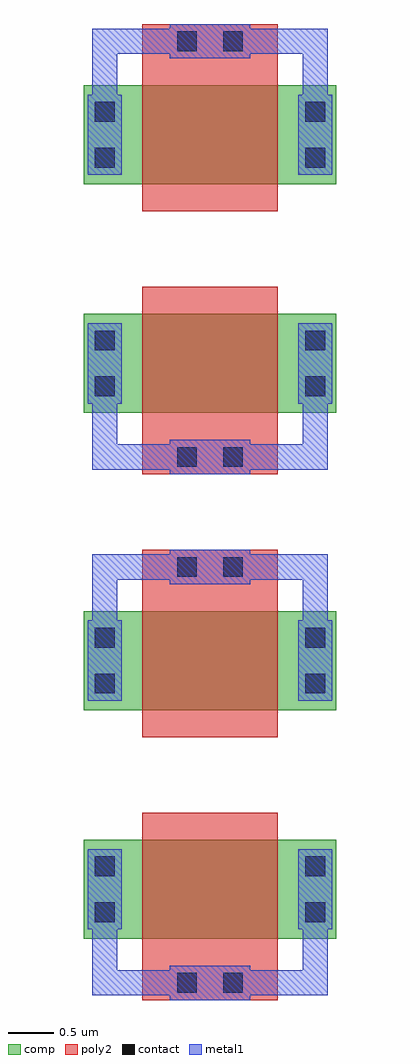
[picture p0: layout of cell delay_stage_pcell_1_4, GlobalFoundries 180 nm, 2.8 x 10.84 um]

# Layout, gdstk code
import gdstk
lib = gdstk.Library(unit=1e-6, precision=5e-09)
def R(c, l, rs):  # rectangles x0, y0, x1, y1
    for r in rs: c.add(gdstk.rectangle(r[:2], r[2:], *l))
comp = (22, 0)
poly2 = (30, 0)
contact = (33, 0)
metal1 = (34, 0)

delay_stage_pcell_1 = lib.new_cell('delay_stage_pcell_1')
R(delay_stage_pcell_1, comp, [(0.17,0.3,0.63,1.4), (0.63,0.3,2.51,1.4), (2.51,0.3,2.97,1.4)])
R(delay_stage_pcell_1, poly2, [(0.82,0,2.32,1.7)])
R(delay_stage_pcell_1, contact, [(0.29,0.485,0.51,0.705), (2.63,0.485,2.85,0.705), (0.29,0.995,0.51,1.215), (2.63,0.995,2.85,1.215)])
R(delay_stage_pcell_1, metal1, [(0.21,0.405,0.59,1.295), (2.55,0.405,2.93,1.295)])

delay_stage_pcell_1_4 = lib.new_cell('delay_stage_pcell_1_4')
R(delay_stage_pcell_1_4, poly2, [(0.65,0,2.15,0.38), (0.65,4.62,2.15,5), (0.65,5.84,2.15,6.22), (0.65,10.46,2.15,10.84)])
R(delay_stage_pcell_1_4, contact, [(1.035,0.08,1.255,0.3), (1.545,0.08,1.765,0.3), (1.035,4.7,1.255,4.92), (1.545,4.7,1.765,4.92), (1.035,5.92,1.255,6.14), (1.545,5.92,1.765,6.14), (1.035,10.54,1.255,10.76), (1.545,10.54,1.765,10.76)])
R(delay_stage_pcell_1_4, metal1, [(0.955,0,1.845,0.38), (0.955,4.62,1.845,5), (0.955,5.84,1.845,6.22), (0.955,10.46,1.845,10.84)])
delay_stage_pcell_1_4.add(gdstk.FlexPath([(2.57,10.055),(2.57,10.65),(0.23,10.65),(0.23,10.055)], 0.28, ends="flush", simple_path=True, layer=34, datatype=0))  # metal1
delay_stage_pcell_1_4.add(gdstk.FlexPath([(2.57,0.785),(2.57,0.19),(0.23,0.19),(0.23,0.785)], 0.28, ends="flush", simple_path=True, layer=34, datatype=0))  # metal1
delay_stage_pcell_1_4.add(gdstk.FlexPath([(2.57,6.625),(2.57,6.03),(0.23,6.03),(0.23,6.625)], 0.28, ends="flush", simple_path=True, layer=34, datatype=0))  # metal1
delay_stage_pcell_1_4.add(gdstk.FlexPath([(2.57,4.215),(2.57,4.81),(0.23,4.81),(0.23,4.215)], 0.28, ends="flush", simple_path=True, layer=34, datatype=0))  # metal1
delay_stage_pcell_1_4.add(gdstk.Reference(delay_stage_pcell_1, (-0.17,6.22)))
delay_stage_pcell_1_4.add(gdstk.Reference(delay_stage_pcell_1, (-0.17,0.38)))
delay_stage_pcell_1_4.add(gdstk.Reference(delay_stage_pcell_1, (-0.17,2.92)))
delay_stage_pcell_1_4.add(gdstk.Reference(delay_stage_pcell_1, (-0.17,8.76)))

lib.write_gds('delay_stage_pcell_1_4.gds')
